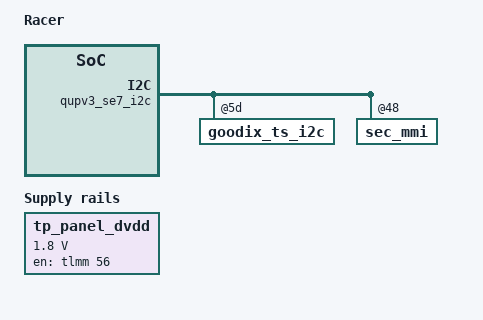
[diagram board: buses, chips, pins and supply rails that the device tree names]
/* Copyright (c) 2019, The Linux Foundation. All rights reserved.
 *
 * This program is free software; you can redistribute it and/or modify
 * it under the terms of the GNU General Public License version 2 and
 * only version 2 as published by the Free Software Foundation.
 *
 * This program is distributed in the hope that it will be useful,
 * but WITHOUT ANY WARRANTY; without even the implied warranty of
 * MERCHANTABILITY or FITNESS FOR A PARTICULAR PURPOSE.  See the
 * GNU General Public License for more details.
 */

/dts-v1/;
/plugin/;

#include "lito-racer-common-overlay.dtsi"

/ {
	model = "Racer";
	compatible = "qcom,lito-racer", "qcom,lito-moto", "qcom,lito";
	qcom,msm-id = <400 0x10000>, <440 0x10000>;
	qcom,board-id = <0x47 0xA100>;
};

/*
 * Charleston HW rev EVT1 specific changes go here
 */
&tlmm {
	touch_vio_en_mux {
		touch_vio_en_active: active {
			mux {
				pins = "gpio56";
				function = "gpio";
			};
			config {
				pins = "gpio56";
				drive-strength = <2>;
				bias-disable;
				output-high;
			};
		};

		touch_vio_en_suspend: default {
			mux {
				pins = "gpio56";
				function = "gpio";
			};
			config {
				pins = "gpio56";
				drive-strength = <2>;
				bias-pull-down;
				output-low;
			};
		};
	};
};

&soc {
	tp_panel_dvdd: tp_gpio_regulator@1 {
		compatible = "regulator-fixed";
		regulator-name = "tp_panel_dvdd";
		regulator-min-microvolt = <1800000>;
		regulator-max-microvolt = <1800000>;
		gpio = <&tlmm 56 0>;
		enable-active-high;
		regulator-boot-on;
		pinctrl-names = "default";
		pinctrl-0 = <&touch_vio_en_active>;
	};
};

&qupv3_se7_i2c {
	goodix_ts_i2c@5d {
		goodix,iovdd-name = "tp_panel_dvdd";
	};

	sec_mmi@48 {
		sec,regulator_dvdd = "tp_panel_dvdd";
	};
};
